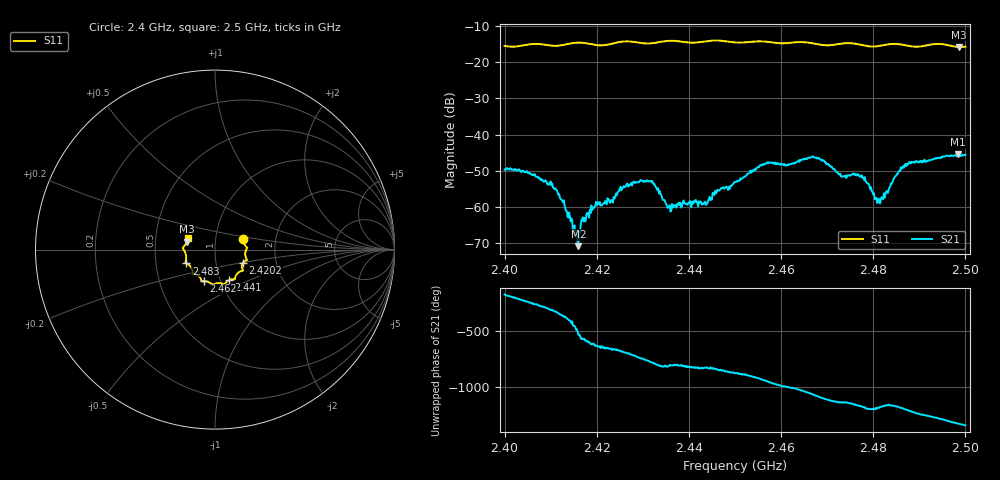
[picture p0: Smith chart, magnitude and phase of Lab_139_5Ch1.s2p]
# Hz S RI R 50
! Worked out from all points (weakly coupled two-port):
!   601 points, 2.4 GHz to 2.5 GHz, reference 50 ohm
!   highest |S21| = -45.47 dB at 2.4983 GHz (marker M1); lowest = -70.9 dB at 2.416 GHz (marker M2)
!   lowest |S11| = -15.8 dB at 2.4987 GHz (marker M3), VSWR 1.39, Z = 36.3 + j3.26 ohm
!   |S11| at or under -10 dB: start of sweep to end of sweep
!   S12 and S22 are empty: the file has one direction only
!   S11 on the Smith chart (normalised r, x): 2.4 GHz: 1.36, +0.17; 2.4202 GHz: 1.36, -0.20; 2.441 GHz: 1.10, -0.39; 2.462 GHz: 0.83, -0.30; 2.483 GHz: 0.72, -0.11; 2.5 GHz: 0.73, +0.09
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2.4e9  0.1571 0.0606  -0.00328 -0.000122  0 0  0 0
2.410333e9  0.1696 -0.0108  0.00143 0.00154  0 0  0 0
2.416e9  0.1782 -0.0582  -0.000284 -3.27e-05  0 0  0 0
2.416667e9  0.1775 -0.0593  -0.000549 0.000343  0 0  0 0
2.420167e9  0.1569 -0.072  9.87e-05 0.00112  0 0  0 0
2.4295e9  0.14 -0.1223  0.00218 -0.000885  0 0  0 0
2.433333e9  0.1129 -0.1521  0.000198 -0.0018  0 0  0 0
2.435667e9  0.1105 -0.1652  9.36e-06 -0.00102  0 0  0 0
2.441e9  0.0774 -0.1704  -0.000299 -0.00116  0 0  0 0
2.45e9  0.0271 -0.1867  -0.00199 -0.000965  0 0  0 0
2.4565e9  -0.0167 -0.1931  -0.00313 0.00242  0 0  0 0
2.462e9  -0.0613 -0.176  0.000732 0.00382  0 0  0 0
2.466667e9  -0.0775 -0.1672  0.0046 0.00178  0 0  0 0
2.473e9  -0.1203 -0.1355  0.00162 -0.00209  0 0  0 0
2.477667e9  -0.1265 -0.1178  -4.95e-05 -0.00255  0 0  0 0
2.481e9  -0.1437 -0.0858  -0.000182 -0.00113  0 0  0 0
2.483e9  -0.1589 -0.0773  0.000301 -0.00162  0 0  0 0
2.483333e9  -0.1606 -0.0765  0.000537 -0.00163  0 0  0 0
2.487333e9  -0.1612 -0.0563  -0.00194 -0.00342  0 0  0 0
2.498333e9  -0.1585 0.0392  -0.00265 0.00462  0 0  0 0
2.498667e9  -0.1569 0.0437  -0.00232 0.0045  0 0  0 0
2.5e9  -0.1531 0.0619  -0.00121 0.00509  0 0  0 0
